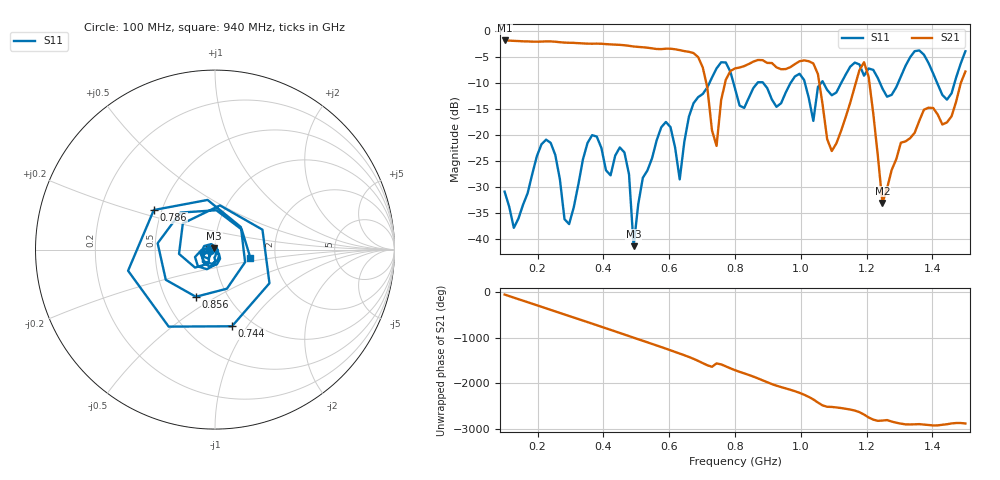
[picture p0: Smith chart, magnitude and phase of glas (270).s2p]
! NanoVNA-App
! Date: 2025-09-25 15:57:34
! Start: 100MHz Stop: 1,5GHz Points: 101
! S-Parameter data: F S11 S21 S12 S22
# Hz S RI R 50
!  Frequency  S11_Real  S11_Imag  S21_Real  S21_Imag  S12_Real  S12_Imag  S22_Real  S22_Imag
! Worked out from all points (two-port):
!   101 points, 100 MHz to 1.5 GHz, reference 50 ohm
!   highest |S21| = -1.80 dB at 100 MHz (marker M1); lowest = -33.1 dB at 1.248 GHz (marker M2)
!   |S21| within 3 dB of the highest: start of sweep to 684.3 MHz
!   lowest |S11| = -41.5 dB at 492 MHz (marker M3), VSWR 1.02, Z = 49.4 + j0.628 ohm
!   |S11| at or under -10 dB: start of sweep to 722.3 MHz; 795.4 MHz to 868.1 MHz (72.7 MHz wide, 8.74 % of centre); 885.8 MHz to 968.8 MHz (83.07 MHz wide, 8.96 % of centre) (the widest 3 of 7)
!   S12 and S22 are empty: the file has one direction only
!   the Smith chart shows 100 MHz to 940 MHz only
!   S11 on the Smith chart (normalised r, x): 100 MHz: 0.95, -0.01; 744 MHz: 0.81, -0.85; 786 MHz: 0.45, +0.24; 856 MHz: 0.71, -0.41; 940 MHz: 1.48, -0.14
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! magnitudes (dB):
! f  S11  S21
! 100 MHz  -30.9  -1.8
! 128 MHz  -37.9  -1.9
! 226 MHz  -20.9  -2.0
! 296 MHz  -37.2  -2.2
! 338 MHz  -24.7  -2.4
! 464 MHz  -23.4  -2.7
! 492 MHz  -41.5  -3.0
! 576 MHz  -18.5  -3.5
! 632 MHz  -28.6  -3.7
! 702 MHz  -12.1  -7.0
! 744 MHz  -7.2  -22.1
! 786 MHz  -7.8  -7.7
! 800 MHz  -11.1  -7.2
! 856 MHz  -10.9  -5.9
! 940 MHz  -13.9  -7.3
! 996 MHz  -8.2  -5.8
! 1.038 GHz  -17.3  -6.2
! 1.094 GHz  -12.4  -23.1
! 1.192 GHz  -8.6  -6.0
! 1.248 GHz  -11.1  -33.1
! 1.276 GHz  -12.3  -26.8
! 1.5 GHz  -3.9  -7.8
